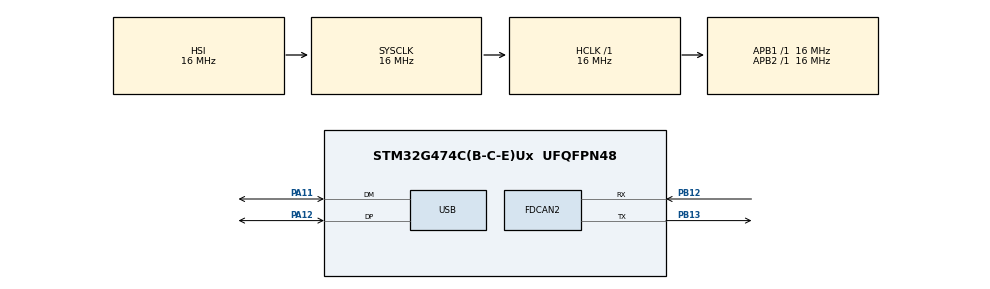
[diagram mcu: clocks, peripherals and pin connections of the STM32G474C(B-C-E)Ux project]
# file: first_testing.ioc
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FDCAN2.CalculateBaudRateNominal=500000
FDCAN2.CalculateTimeBitNominal=2000
FDCAN2.CalculateTimeQuantumNominal=125.0
FDCAN2.NominalPrescaler=2
FDCAN2.NominalTimeSeg1=13
FDCAN2.NominalTimeSeg2=2
Mcu.Family=STM32G4
Mcu.Name=STM32G474C(B-C-E)Ux
Mcu.Package=UFQFPN48
NVIC.FDCAN2_IT0_IRQn=true\:0\:0\:false\:false\:true\:true\:true\:true
NVIC.PriorityGroup=NVIC_PRIORITYGROUP_4
NVIC.USB_LP_IRQn=true\:0\:0\:false\:false\:true\:false\:true\:true
PA11.Mode=Device
PA11.Signal=USB_DM
PA12.Mode=Device
PA12.Signal=USB_DP
PB12.Mode=FDCAN_Activate
PB12.Signal=FDCAN2_RX
PB13.Mode=FDCAN_Activate
PB13.Signal=FDCAN2_TX
ProjectManager.HeapSize=0x200
ProjectManager.StackSize=0x400
ProjectManager.TargetToolchain=STM32CubeIDE
RCC.AHBFreq_Value=16000000
RCC.APB1Freq_Value=16000000
RCC.APB1TimFreq_Value=16000000
RCC.APB2Freq_Value=16000000
RCC.APB2TimFreq_Value=16000000
RCC.CortexFreq_Value=16000000
RCC.EXTERNAL_CLOCK_VALUE=12288000
RCC.HCLKFreq_Value=16000000
RCC.HSE_VALUE=8000000
RCC.HSI48_VALUE=48000000
RCC.HSI_VALUE=16000000
RCC.LSE_VALUE=32768
RCC.PLLN=12
RCC.PLLQ=RCC_PLLQ_DIV4
RCC.SYSCLKFreq_VALUE=16000000
RCC.USBFreq_Value=48000000
RCC.VCOOutputFreq_Value=192000000
USB_DEVICE.CLASS_NAME_FS=CDC
USB_DEVICE.VirtualMode=Cdc
USB_DEVICE.VirtualModeFS=Cdc_FS
VP_SYS_VS_DBSignals.Mode=DisableDeadBatterySignals
VP_USB_DEVICE_VS_USB_DEVICE_CDC_FS.Mode=CDC_FS
board=custom

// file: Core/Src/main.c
/* USER CODE BEGIN Header */
/**
  ******************************************************************************
  * @file           : main.c
  * @brief          : Main program body
  ******************************************************************************
  * @attention
  *
  * Copyright (c) 2026 STMicroelectronics.
  * All rights reserved.
  *
  * This software is licensed under terms that can be found in the LICENSE file
  * in the root directory of this software component.
  * If no LICENSE file comes with this software, it is provided AS-IS.
  *
  ******************************************************************************
  */
/* USER CODE END Header */
#include "main.h"
#include "usb_device.h"

/* USER CODE BEGIN Includes */
#include "usbd_cdc_if.h"
#include <stdio.h>
#include <string.h>
/* USER CODE END Includes */

FDCAN_HandleTypeDef hfdcan2;

/* USER CODE BEGIN PV */
FDCAN_RxHeaderTypeDef RxHeader;
uint8_t RxData[8];
volatile uint8_t datacheck = 0;
/* USER CODE END PV */

void SystemClock_Config(void);
static void MX_GPIO_Init(void);
static void MX_FDCAN2_Init(void);

int main(void)
{

  /* MCU Configuration--------------------------------------------------------*/

  /* Reset of all peripherals, Initializes the Flash interface and the Systick. */
  HAL_Init();

  /* Configure the system clock */
  SystemClock_Config();

  /* Initialize all configured peripherals */
  MX_GPIO_Init();
  MX_USB_Device_Init();
  MX_FDCAN2_Init();
  /* USER CODE BEGIN 2 */

  HAL_Delay(1000);  /* let USB CDC enumerate */

  char msg[100];
  int len;

  /* Step 1: Global filter */
  if (HAL_FDCAN_ConfigGlobalFilter(&hfdcan2,
        FDCAN_ACCEPT_IN_RX_FIFO0,
        FDCAN_ACCEPT_IN_RX_FIFO0,
        FDCAN_REJECT_REMOTE,
        FDCAN_REJECT_REMOTE) != HAL_OK) {
    len = snprintf(msg, sizeof(msg), "FAIL: GlobalFilter\r\n");
    CDC_Transmit_FS((uint8_t *)msg, len);
    HAL_Delay(100);
  }

  /* Step 2: Start FDCAN */
  if (HAL_FDCAN_Start(&hfdcan2) != HAL_OK) {
    len = snprintf(msg, sizeof(msg), "FAIL: FDCAN Start\r\n");
    CDC_Transmit_FS((uint8_t *)msg, len);
    HAL_Delay(100);
  }

  /* Step 3: Activate RX interrupt */
  if (HAL_FDCAN_ActivateNotification(&hfdcan2,
        FDCAN_IT_RX_FIFO0_NEW_MESSAGE, 0) != HAL_OK) {
    len = snprintf(msg, sizeof(msg), "FAIL: ActivateNotification\r\n");
    CDC_Transmit_FS((uint8_t *)msg, len);
    HAL_Delay(100);
  }

  len = snprintf(msg, sizeof(msg), "FDCAN2 init OK — waiting for CAN data...\r\n");
  CDC_Transmit_FS((uint8_t *)msg, len);
  HAL_Delay(100);
  /* USER CODE END 2 */

  /* Infinite loop */
  while (1)
  {

    /* USER CODE BEGIN 3 */
	  if (datacheck) {
	        char msg[100];
	        int len = snprintf(msg, sizeof(msg),
	            "RX | ID=0x%03lX  Data=[%d %d %d %d %d %d %d %d]\r\n",
	            RxHeader.Identifier,
	            RxData[0], RxData[1], RxData[2], RxData[3],
	            RxData[4], RxData[5], RxData[6], RxData[7]);
	        CDC_Transmit_FS((uint8_t *)msg, len);
	        HAL_Delay(10);
	        datacheck = 0;
	      }

	      HAL_Delay(10);
  }
  /* USER CODE END 3 */
}

void SystemClock_Config(void)
{
  RCC_OscInitTypeDef RCC_OscInitStruct = {0};
  RCC_ClkInitTypeDef RCC_ClkInitStruct = {0};

  /** Configure the main internal regulator output voltage
  */
  HAL_PWREx_ControlVoltageScaling(PWR_REGULATOR_VOLTAGE_SCALE1);

  /** Initializes the RCC Oscillators according to the specified parameters
  * in the RCC_OscInitTypeDef structure.
  */
  RCC_OscInitStruct.OscillatorType = RCC_OSCILLATORTYPE_HSI;
  RCC_OscInitStruct.HSIState = RCC_HSI_ON;
  RCC_OscInitStruct.HSICalibrationValue = RCC_HSICALIBRATION_DEFAULT;
  RCC_OscInitStruct.PLL.PLLState = RCC_PLL_ON;
  RCC_OscInitStruct.PLL.PLLSource = RCC_PLLSOURCE_HSI;
  RCC_OscInitStruct.PLL.PLLM = RCC_PLLM_DIV1;
  RCC_OscInitStruct.PLL.PLLN = 12;
  RCC_OscInitStruct.PLL.PLLP = RCC_PLLP_DIV2;
  RCC_OscInitStruct.PLL.PLLQ = RCC_PLLQ_DIV4;
  RCC_OscInitStruct.PLL.PLLR = RCC_PLLR_DIV2;
  if (HAL_RCC_OscConfig(&RCC_OscInitStruct) != HAL_OK)
  {
    Error_Handler();
  }

  /** Initializes the CPU, AHB and APB buses clocks
  */
  RCC_ClkInitStruct.ClockType = RCC_CLOCKTYPE_HCLK|RCC_CLOCKTYPE_SYSCLK
                              |RCC_CLOCKTYPE_PCLK1|RCC_CLOCKTYPE_PCLK2;
  RCC_ClkInitStruct.SYSCLKSource = RCC_SYSCLKSOURCE_HSI;
  RCC_ClkInitStruct.AHBCLKDivider = RCC_SYSCLK_DIV1;
  RCC_ClkInitStruct.APB1CLKDivider = RCC_HCLK_DIV1;
  RCC_ClkInitStruct.APB2CLKDivider = RCC_HCLK_DIV1;

  if (HAL_RCC_ClockConfig(&RCC_ClkInitStruct, FLASH_LATENCY_0) != HAL_OK)
  {
    Error_Handler();
  }
}

static void MX_FDCAN2_Init(void)
{

  hfdcan2.Instance = FDCAN2;
  hfdcan2.Init.ClockDivider = FDCAN_CLOCK_DIV1;
  hfdcan2.Init.FrameFormat = FDCAN_FRAME_CLASSIC;
  hfdcan2.Init.Mode = FDCAN_MODE_NORMAL;
  hfdcan2.Init.AutoRetransmission = DISABLE;
  hfdcan2.Init.TransmitPause = DISABLE;
  hfdcan2.Init.ProtocolException = DISABLE;
  hfdcan2.Init.NominalPrescaler = 2;
  hfdcan2.Init.NominalSyncJumpWidth = 1;
  hfdcan2.Init.NominalTimeSeg1 = 13;
  hfdcan2.Init.NominalTimeSeg2 = 2;
  hfdcan2.Init.DataPrescaler = 1;
  hfdcan2.Init.DataSyncJumpWidth = 1;
  hfdcan2.Init.DataTimeSeg1 = 1;
  hfdcan2.Init.DataTimeSeg2 = 1;
  hfdcan2.Init.StdFiltersNbr = 0;
  hfdcan2.Init.ExtFiltersNbr = 0;
  hfdcan2.Init.TxFifoQueueMode = FDCAN_TX_FIFO_OPERATION;
  if (HAL_FDCAN_Init(&hfdcan2) != HAL_OK)
  {
    Error_Handler();
  }

}

static void MX_GPIO_Init(void)
{

  /* GPIO Ports Clock Enable */
  __HAL_RCC_GPIOB_CLK_ENABLE();
  __HAL_RCC_GPIOA_CLK_ENABLE();

}

/* USER CODE BEGIN 4 */
void HAL_FDCAN_RxFifo0Callback(FDCAN_HandleTypeDef *hfdcan, uint32_t RxFifo0ITs)
{
  if ((RxFifo0ITs & FDCAN_IT_RX_FIFO0_NEW_MESSAGE) != 0)
  {
    if (HAL_FDCAN_GetRxMessage(hfdcan, FDCAN_RX_FIFO0, &RxHeader, RxData) != HAL_OK) {
      Error_Handler();
    }
    datacheck = 1;
  }
}
/* USER CODE END 4 */

void Error_Handler(void)
{
  __disable_irq();
  while (1)
  {
  }
}
